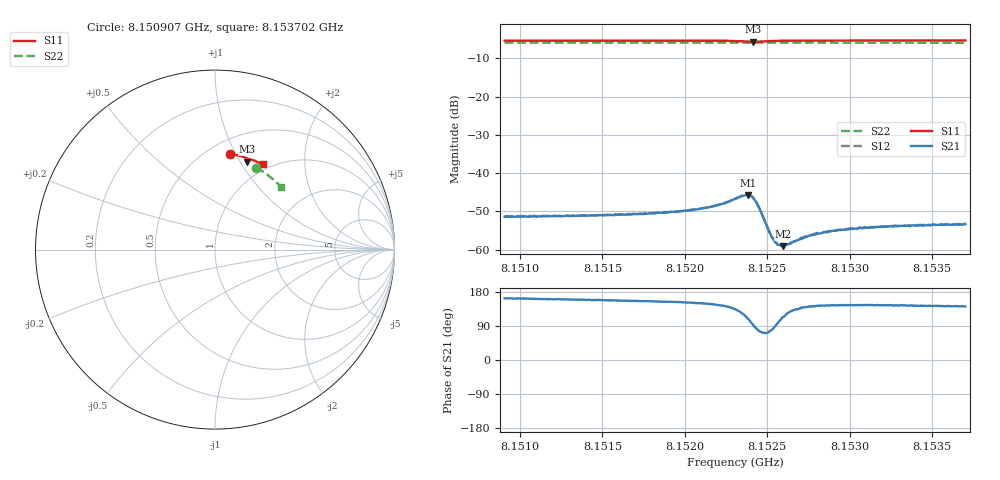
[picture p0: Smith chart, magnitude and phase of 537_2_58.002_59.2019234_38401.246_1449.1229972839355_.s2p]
#  HZ  S  RI  R  50.00
! Rohde & Schwarz Vector Network Analyzer
! Rohde-Schwarz,ZNB20-2Port,1311601062101988,3.16
! Created: UTC 3/21/2024, 1:14:20 AM
! freq[Hz]  re:S11  im:S11  re:S21  im:S21  re:S12  im:S12  re:S22  im:S22
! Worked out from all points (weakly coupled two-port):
!   401 points, 8.150907 GHz to 8.153702 GHz, reference 50 ohm
!   highest |S21| = -45.75 dB at 8.152382 GHz (marker M1); lowest = -59.1 dB at 8.152598 GHz (marker M2)
!   lowest |S11| = -5.6 dB at 8.152417 GHz (marker M3), VSWR 3.18, Z = 39.8 + j53.6 ohm
!   |S11| at or under -10 dB: nowhere
!   |S22| runs from -5.9 to -5.8 dB; largest |S21 - S12| = 0.00012
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8.1509073e9  0.0845 0.5325  -0.00257 0.0008  -0.00261 0.000855  0.2291 0.4564
8.1513755e9  0.117 0.5271  -0.0026 0.000978  -0.00262 0.00103  0.2552 0.4416
8.1518436e9  0.1497 0.5193  -0.00272 0.00131  -0.00274 0.00137  0.2803 0.4254
8.1519763e9  0.1591 0.5164  -0.00282 0.00146  -0.00281 0.00152  0.2871 0.4204
8.152137e9  0.1712 0.512  -0.00303 0.00187  -0.00304 0.00193  0.2956 0.4143
8.1522418e9  0.1798 0.5073  -0.00322 0.00245  -0.00321 0.00255  0.301 0.41
8.1523047e9  0.1846 0.5023  -0.00319 0.00326  -0.00318 0.00338  0.3042 0.4075
8.1523536e9  0.1862 0.4957  -0.00263 0.00433  -0.00256 0.00442  0.3065 0.4054
8.1523816e9  0.1844 0.4918  -0.00174 0.00486  -0.0017 0.00492  0.3075 0.4043
8.1524025e9  0.1811 0.4902  -0.00076 0.00493  -0.000737 0.00498  0.3084 0.4034
8.1524165e9  0.1789 0.4904  -0.000142 0.00468  -9.26e-05 0.00474  0.309 0.403
8.1524514e9  0.1753 0.4948  0.000818 0.0034  0.000892 0.0034  0.3107 0.4019
8.1525143e9  0.1797 0.5024  0.000405 0.00164  0.000443 0.00162  0.3139 0.3996
8.1525353e9  0.1819 0.5034  0.000173 0.00138  0.000172 0.0014  0.3152 0.3989
8.1525632e9  0.1852 0.5039  -0.000144 0.00114  -0.000136 0.00119  0.3166 0.3978
8.1525982e9  0.1888 0.5041  -0.00045 0.00101  -0.000441 0.00108  0.3182 0.3963
8.1526191e9  0.1908 0.5041  -0.000622 0.000989  -0.000589 0.001  0.3193 0.3955
8.1527169e9  0.1993 0.5024  -0.00107 0.000956  -0.00107 0.000956  0.324 0.3915
8.1527728e9  0.2036 0.5011  -0.00121 0.000988  -0.00121 0.000961  0.3268 0.3891
8.1529685e9  0.2176 0.4962  -0.00149 0.00102  -0.0015 0.00107  0.3361 0.3806
8.153241e9  0.2357 0.4886  -0.00166 0.00115  -0.00165 0.00121  0.3485 0.3689
8.1537021e9  0.2648 0.4743  -0.00167 0.00135  -0.00167 0.00137  0.3687 0.3478
